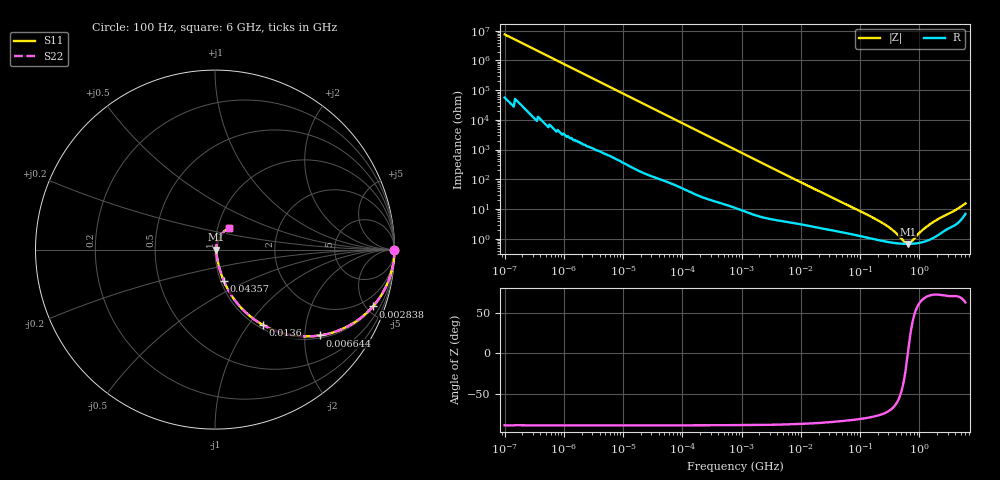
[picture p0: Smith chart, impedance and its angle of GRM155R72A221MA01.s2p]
!Murata Part Number: GRM155R72A221MA01
!These Parameters are Measured in Series Mode Connection
!Data Generated on Mar 30, 2021
!  o--ll--o
!Port1  Port2
!  o------o
!Operation Temp=25[degC], DC Bias Voltage=0[V]
!Freq. Start=100[Hz] Stop=6[GHz] 401[Steps]
# Hz S RI R 50
!Freq.(Hz) S11(Real) S11(Imag) S21(Real) S21(Imag) S12(Real) S12(Imag) S22(Real) S22(Imag)
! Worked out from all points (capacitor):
!   401 points, 100 Hz to 6 GHz, reference 50 ohm
!   read as one part in series: C = 210 pF near 109 Hz
!   lowest |Z| = 666 mohm at 639.6 MHz (marker M1)
!   series resonance near 640 MHz, so ESL is about 290 pH
!   S11 on the Smith chart (normalised r, x): 100 Hz: open; 2.838 MHz: 1.09, -5.52; 6.644 MHz: 1.07, -2.38; 13.6 MHz: 1.05, -1.17; 43.57 MHz: 1.03, -0.38; 6 GHz: 1.14, +0.27
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100  1 -1.33e-05  1e-07 1.33e-05  1e-07 1.33e-05  1 -1.33e-05
717  1 -9.44e-05  4e-07 9.44e-05  4e-07 9.44e-05  1 -9.44e-05
2008  1 -0.000264  1.2e-06 0.000264  1.2e-06 0.000264  1 -0.000264
40335  0.9999 -0.00525  5.6e-05 0.00525  5.6e-05 0.00525  0.9999 -0.00525
241822  0.9988 -0.0312  0.0012 0.0312  0.0012 0.0312  0.9988 -0.0312
774597  0.9891 -0.0984  0.0109 0.0984  0.0109 0.0984  0.9891 -0.0984
1658239  0.9545 -0.2019  0.0455 0.2019  0.0455 0.2019  0.9545 -0.2019
2837864  0.8799 -0.3167  0.1201 0.3167  0.1201 0.3167  0.8799 -0.3167
4246196  0.769 -0.4106  0.231 0.4106  0.231 0.4106  0.769 -0.4106
6644369  0.5829 -0.4784  0.4171 0.4784  0.4171 0.4784  0.5829 -0.4784
1.360128e7  0.2659 -0.4195  0.7341 0.4195  0.7341 0.4195  0.2659 -0.4195
1.555665e7  0.2209 -0.3908  0.7791 0.3908  0.7791 0.3908  0.2209 -0.3908
2.434276e7  0.1145 -0.2876  0.8855 0.2876  0.8855 0.2876  0.1145 -0.2876
4.35672e7  0.0498 -0.176  0.9502 0.176  0.9502 0.176  0.0498 -0.176
1.596157e8  0.0124 -0.0508  0.9876 0.0508  0.9876 0.0508  0.0124 -0.0508
3.124326e8  0.00804 -0.0221  0.992 0.0221  0.992 0.0221  0.00804 -0.0221
5.59173e8  0.00666 -0.00394  0.9933 0.00394  0.9933 0.00394  0.00666 -0.00394
6.395615e8  0.00662 -2.09e-05  0.9934 2.09e-05  0.9934 2.09e-05  0.00662 -2.09e-05
7.31507e8  0.00669 0.00393  0.9933 -0.00393  0.9933 -0.00393  0.00669 0.00393
1.094528e9  0.00772 0.0166  0.9923 -0.0166  0.9923 -0.0166  0.00772 0.0166
1.565993e9  0.0104 0.03  0.9896 -0.03  0.9896 -0.03  0.0104 0.03
6e9  0.0793 0.1183  0.9207 -0.1183  0.9207 -0.1183  0.0793 0.1183
